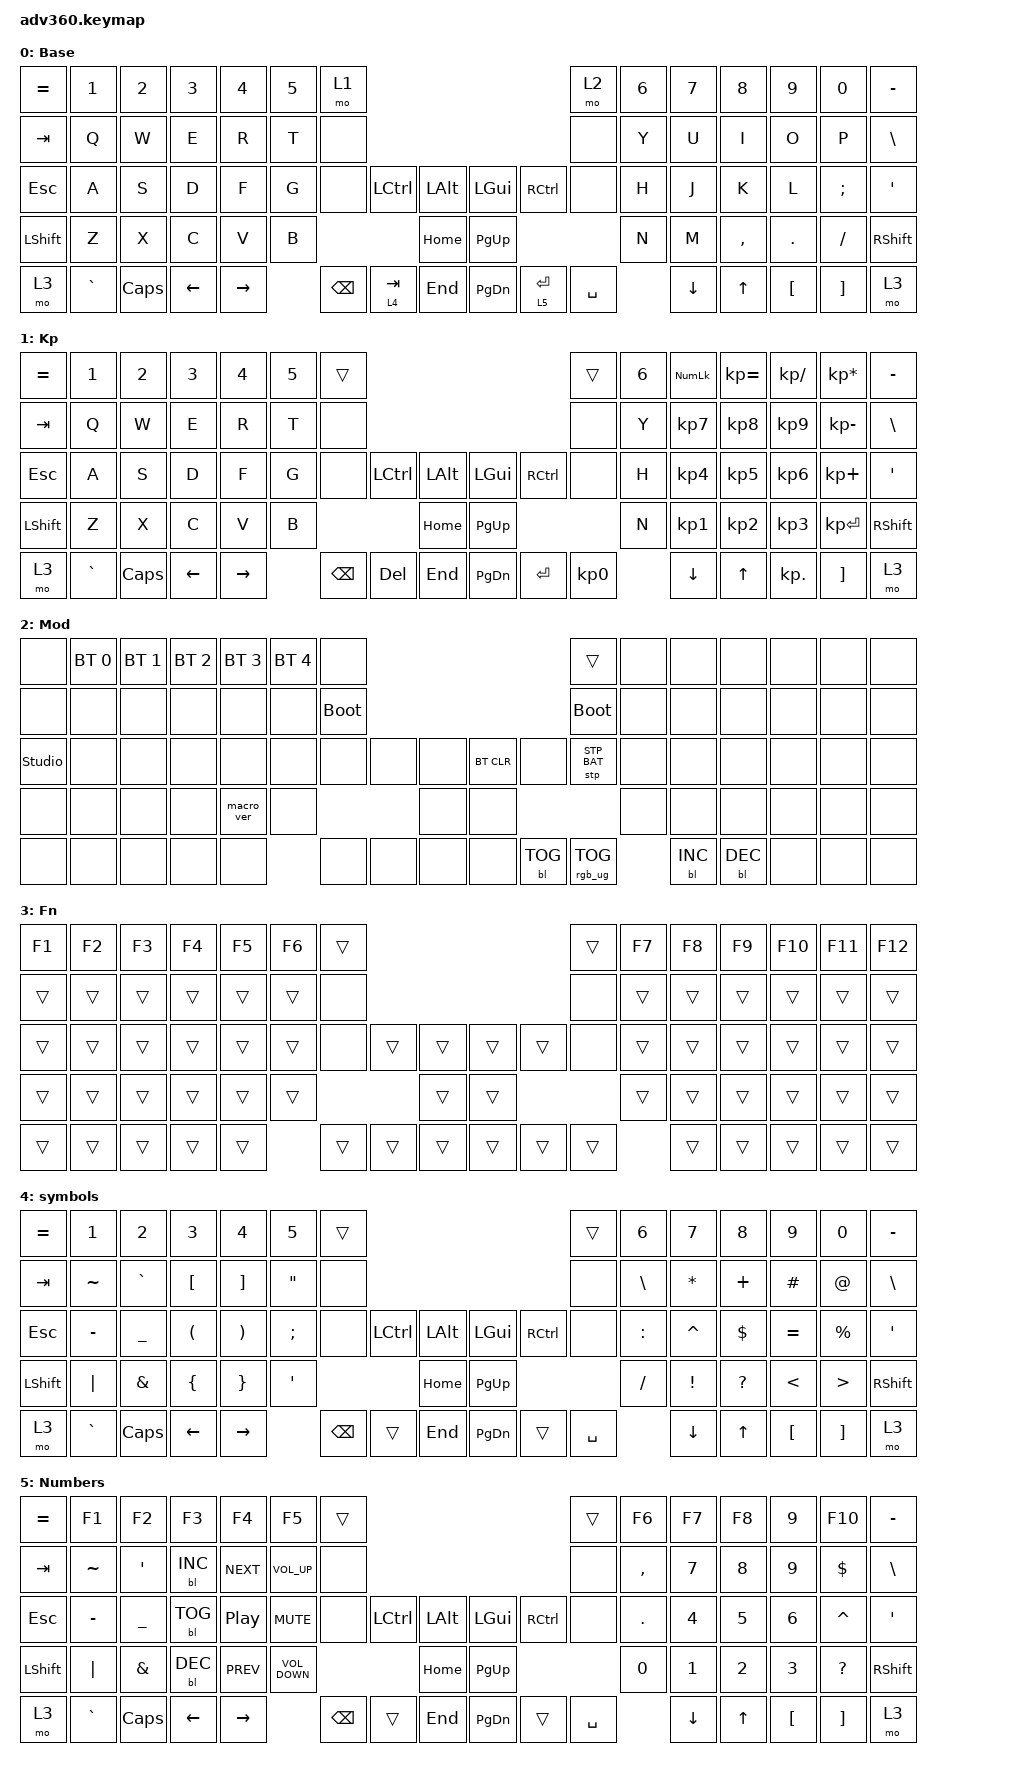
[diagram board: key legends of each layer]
#include <dt-bindings/zmk/stp.h>
#include <behaviors.dtsi>
#include <dt-bindings/zmk/backlight.h>
#include <dt-bindings/zmk/bt.h>
#include <dt-bindings/zmk/keys.h>
#include <dt-bindings/zmk/rgb.h>

/ {
    behaviors {
        #include "macros.dtsi"
      #include "version.dtsi"

        hm: homerow_mods {
            compatible = "zmk,behavior-hold-tap";
            label = "HOMEROW_MODS";
            #binding-cells = <2>;
            tapping-term-ms = <200>;
            quick_tap_ms = <175>;
            flavor = "tap-preferred";
            bindings = <&kp>, <&kp>;
        };

        thumb_lt: thumb_lt {
            compatible = "zmk,behavior-hold-tap";
            label = "THUMB_LT";
            bindings = <&mo>, <&kp>;

            #binding-cells = <2>;
            tapping-term-ms = <160>;
            flavor = "hold-preferred";
        };
    };

    combos {
        compatible = "zmk,combos";

        Lshift {
            bindings = <&kp LEFT_SHIFT>;
            key-positions = <32 31>;
        };

        Lctrl {
            bindings = <&kp LCTRL>;
            key-positions = <31 30>;
        };

        Lalt {
            bindings = <&kp LEFT_ALT>;
            key-positions = <30 29>;
        };

        Lgui {
            bindings = <&kp LEFT_GUI>;
            key-positions = <29 32>;
        };

        Rshift {
            bindings = <&kp LEFT_SHIFT>;
            key-positions = <41 42>;
        };

        Rctrl {
            bindings = <&kp RIGHT_CONTROL>;
            key-positions = <42 43>;
        };

        Ralt {
            bindings = <&kp RIGHT_ALT>;
            key-positions = <43 44>;
        };

        Rgui {
            bindings = <&kp RIGHT_GUI>;
            key-positions = <44 41>;
        };

        delete {
            bindings = <&kp DELETE>;
            key-positions = <66 69>;
        };
    };

    keymap {
        compatible = "zmk,keymap";

        default_layer {
            display-name = "Base";
            bindings = <
&kp EQUAL  &kp N1     &kp N2    &kp N3    &kp N4     &kp N5  &mo 1                                                                       &mo 2      &kp N6  &kp N7    &kp N8     &kp N9    &kp N0         &kp MINUS
&kp TAB    &kp Q      &kp W     &kp E     &kp R      &kp T   &none                                                                       &none      &kp Y   &kp U     &kp I      &kp O     &kp P          &kp BSLH
&kp ESC    &kp A      &kp S     &kp D     &kp F      &kp G   &none          &kp LCTRL        &kp LALT      &kp LGUI   &kp RCTRL          &none      &kp H   &kp J     &kp K      &kp L     &kp SEMICOLON  &kp SQT
&kp LSHFT  &kp Z      &kp X     &kp C     &kp V      &kp B                                   &kp HOME      &kp PG_UP                                &kp N   &kp M     &kp COMMA  &kp DOT   &kp FSLH       &kp RSHFT
&mo 3      &kp GRAVE  &kp CAPS  &kp LEFT  &kp RIGHT          &kp BACKSPACE  &thumb_lt 4 TAB  &kp END       &kp PG_DN  &thumb_lt 5 ENTER  &kp SPACE          &kp DOWN  &kp UP     &kp LBKT  &kp RBKT       &mo 3
            >;
        };

        keypad {
            display-name = "Kp";
            bindings = <
&kp EQUAL  &kp N1     &kp N2    &kp N3    &kp N4     &kp N5  &trans                                                   &trans     &kp N6  &kp KP_NUM  &kp KP_EQUAL  &kp KP_DIVIDE  &kp KP_MULTIPLY  &kp MINUS
&kp TAB    &kp Q      &kp W     &kp E     &kp R      &kp T   &none                                                    &none      &kp Y   &kp KP_N7   &kp KP_N8     &kp KP_N9      &kp KP_MINUS     &kp BSLH
&kp ESC    &kp A      &kp S     &kp D     &kp F      &kp G   &none     &kp LCTRL  &kp LALT      &kp LGUI   &kp RCTRL  &none      &kp H   &kp KP_N4   &kp KP_N5     &kp KP_N6      &kp KP_PLUS      &kp SQT
&kp LSHFT  &kp Z      &kp X     &kp C     &kp V      &kp B                        &kp HOME      &kp PG_UP                        &kp N   &kp KP_N1   &kp KP_N2     &kp KP_N3      &kp KP_ENTER     &kp RSHFT
&mo 3      &kp GRAVE  &kp CAPS  &kp LEFT  &kp RIGHT          &kp BSPC  &kp DEL    &kp END       &kp PG_DN  &kp ENTER  &kp KP_N0          &kp DOWN    &kp UP_ARROW  &kp KP_DOT     &kp RBKT         &mo 3
            >;
        };

        mod {
            display-name = "Mod";
            bindings = <
&none           &bt BT_SEL 0  &bt BT_SEL 1  &bt BT_SEL 2  &bt BT_SEL 3  &bt BT_SEL 4  &none                                                  &trans           &none  &none       &none       &none  &none  &none
&none           &none         &none         &none         &none         &none         &bootloader                                            &bootloader      &none  &none       &none       &none  &none  &none
&studio_unlock  &none         &none         &none         &none         &none         &none        &none  &none      &bt BT_CLR  &none       &stp STP_BAT     &none  &none       &none       &none  &none  &none
&none           &none         &none         &none         &macro_ver    &none                             &none      &none                                    &none  &none       &none       &none  &none  &none
&none           &none         &none         &none         &none                       &none        &none  &none      &none       &bl BL_TOG  &rgb_ug RGB_TOG         &bl BL_INC  &bl BL_DEC  &none  &none  &none
            >;
        };

        fn {
            display-name = "Fn";
            bindings = <
&kp F1  &kp F2  &kp F3  &kp F4  &kp F5  &kp F6  &trans                                      &trans  &kp F7  &kp F8  &kp F9  &kp F10  &kp F11  &kp F12
&trans  &trans  &trans  &trans  &trans  &trans  &none                                       &none   &trans  &trans  &trans  &trans   &trans   &trans
&trans  &trans  &trans  &trans  &trans  &trans  &none   &trans  &trans      &trans  &trans  &none   &trans  &trans  &trans  &trans   &trans   &trans
&trans  &trans  &trans  &trans  &trans  &trans                  &trans      &trans                  &trans  &trans  &trans  &trans   &trans   &trans
&trans  &trans  &trans  &trans  &trans          &trans  &trans  &trans      &trans  &trans  &trans          &trans  &trans  &trans   &trans   &trans
            >;
        };

        Symbols {
            display-name = "symbols";
            bindings = <
&kp EQUAL  &kp N1     &kp N2          &kp N3                &kp N4                 &kp N5             &trans                                                   &trans     &kp N6         &kp N7           &kp N8        &kp N9         &kp N0            &kp MINUS
&kp TAB    &kp TILDE  &kp GRAVE       &kp LEFT_BRACKET      &kp RIGHT_BRACKET      &kp DOUBLE_QUOTES  &none                                                    &none      &kp BACKSLASH  &kp ASTERISK     &kp PLUS      &kp HASH       &kp AT_SIGN       &kp BSLH
&kp ESC    &kp MINUS  &kp UNDERSCORE  &kp LEFT_PARENTHESIS  &kp RIGHT_PARENTHESIS  &kp SEMICOLON      &none     &kp LCTRL  &kp LALT      &kp LGUI   &kp RCTRL  &none      &kp COLON      &kp CARET        &kp DOLLAR    &kp EQUAL      &kp PERCENT       &kp SQT
&kp LSHFT  &kp PIPE   &kp AMPERSAND   &kp LEFT_BRACE        &kp RIGHT_BRACE        &kp SINGLE_QUOTE                        &kp HOME      &kp PG_UP                        &kp SLASH      &kp EXCLAMATION  &kp QUESTION  &kp LESS_THAN  &kp GREATER_THAN  &kp RSHFT
&mo 3      &kp GRAVE  &kp CAPS        &kp LEFT              &kp RIGHT                                 &kp BSPC  &trans     &kp END       &kp PG_DN  &trans     &kp SPACE                 &kp DOWN         &kp UP        &kp LBKT       &kp RBKT          &mo 3
            >;
        };

        Numbers {
            display-name = "Numbers";
            bindings = <
&kp EQUAL  &kp F1     &kp F2          &kp F3      &kp F4            &kp F5             &trans                                                        &trans     &kp F6     &kp F7    &kp F8  &kp N9    &kp F10       &kp MINUS
&kp TAB    &kp TILDE  &kp SQT         &bl BL_INC  &kp C_NEXT        &kp C_VOLUME_UP    &none                                                         &none      &kp COMMA  &kp N7    &kp N8  &kp N9    &kp DOLLAR    &kp BSLH
&kp ESC    &kp MINUS  &kp UNDERSCORE  &bl BL_TOG  &kp C_PLAY_PAUSE  &kp C_MUTE         &none          &kp LCTRL  &kp LALT      &kp LGUI   &kp RCTRL  &none      &kp DOT    &kp N4    &kp N5  &kp N6    &kp CARET     &kp SQT
&kp LSHFT  &kp PIPE   &kp AMPERSAND   &bl BL_DEC  &kp C_PREV        &kp C_VOLUME_DOWN                            &kp HOME      &kp PG_UP                        &kp N0     &kp N1    &kp N2  &kp N3    &kp QUESTION  &kp RSHFT
&mo 3      &kp GRAVE  &kp CAPS        &kp LEFT    &kp RIGHT                            &kp BACKSPACE  &trans     &kp END       &kp PG_DN  &trans     &kp SPACE             &kp DOWN  &kp UP  &kp LBKT  &kp RBKT      &mo 3
            >;
        };
    };
};
